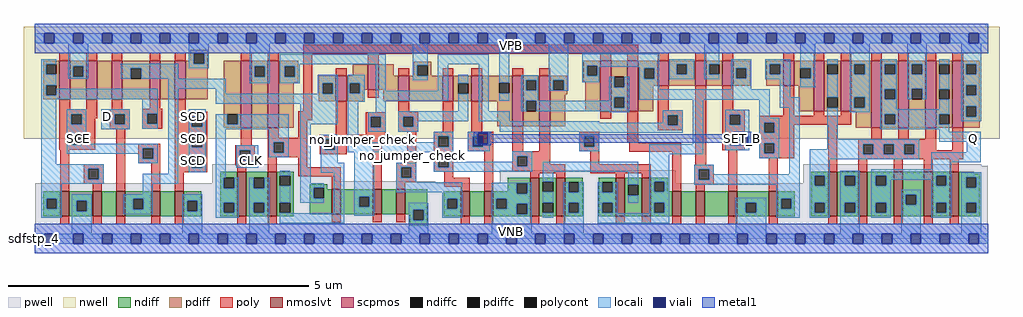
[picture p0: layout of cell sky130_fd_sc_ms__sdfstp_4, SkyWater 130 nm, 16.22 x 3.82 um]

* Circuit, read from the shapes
.subckt sky130_fd_sc_ms__sdfstp_4 CLK D SCD SCE SET_B VGND VNB VPB VPWR Q
XM1 VGND SCE n1 VNB sky130_fd_pr__nfet_01v8_lvt w=0.42 l=0.15
XM2 n2 n1 VGND VNB sky130_fd_pr__nfet_01v8_lvt w=0.42 l=0.15
XM3 n3 D n2 VNB sky130_fd_pr__nfet_01v8_lvt w=0.42 l=0.15
XM4 n4 SCE n3 VNB sky130_fd_pr__nfet_01v8_lvt w=0.42 l=0.15
XM5 VGND SCD n4 VNB sky130_fd_pr__nfet_01v8_lvt w=0.42 l=0.15
XM6 VGND CLK n5 VNB sky130_fd_pr__nfet_01v8_lvt w=0.74 l=0.15
XM7 n6 n5 VGND VNB sky130_fd_pr__nfet_01v8_lvt w=0.74 l=0.15
XM8 n7 n5 n3 VNB sky130_fd_pr__nfet_01v8_lvt w=0.42 l=0.15
XM9 n8 n6 n7 VNB sky130_fd_pr__nfet_01v8_lvt w=0.42 l=0.15
XM10 VGND n9 n8 VNB sky130_fd_pr__nfet_01v8_lvt w=0.42 l=0.15
XM11 n10 n7 n9 VNB sky130_fd_pr__nfet_01v8_lvt w=0.42 l=0.15
XM12 VGND SET_B n10 VNB sky130_fd_pr__nfet_01v8_lvt w=0.42 l=0.15
XM13 n11 n7 VGND VNB sky130_fd_pr__nfet_01v8_lvt w=0.64 l=0.15 m=2
XM14 n11 n6 n12 VNB sky130_fd_pr__nfet_01v8_lvt w=0.64 l=0.15 m=2
XM15 n13 n5 n12 VNB sky130_fd_pr__nfet_01v8_lvt w=0.42 l=0.15
XM16 n14 n15 n13 VNB sky130_fd_pr__nfet_01v8_lvt w=0.42 l=0.15
XM17 VGND SET_B n14 VNB sky130_fd_pr__nfet_01v8_lvt w=0.42 l=0.15
XM18 n15 n12 VGND VNB sky130_fd_pr__nfet_01v8_lvt w=0.42 l=0.15
XM19 VGND n12 n16 VNB sky130_fd_pr__nfet_01v8_lvt w=0.74 l=0.15
XM20 Q n16 VGND VNB sky130_fd_pr__nfet_01v8_lvt w=0.74 l=0.15 m=4
XM21 VPWR SCE n1 VPB sky130_fd_pr__pfet_01v8 w=0.64 l=0.18
XM22 n17 SCE VPWR VPB sky130_fd_pr__pfet_01v8 w=0.64 l=0.18
XM23 n3 D n17 VPB sky130_fd_pr__pfet_01v8 w=0.64 l=0.18
XM24 n18 n1 n3 VPB sky130_fd_pr__pfet_01v8 w=0.64 l=0.18
XM25 VPWR SCD n18 VPB sky130_fd_pr__pfet_01v8 w=0.64 l=0.18
XM26 VPWR CLK n5 VPB sky130_fd_pr__pfet_01v8 w=1.12 l=0.18
XM27 n6 n5 VPWR VPB sky130_fd_pr__pfet_01v8 w=1.12 l=0.18
XM28 n7 n6 n3 VPB sky130_fd_pr__pfet_01v8 w=0.42 l=0.18
XM29 n19 n5 n7 VPB sky130_fd_pr__pfet_01v8 w=0.42 l=0.18
XM30 VPWR n9 n19 VPB sky130_fd_pr__pfet_01v8 w=0.42 l=0.18
XM31 n9 n7 VPWR VPB sky130_fd_pr__pfet_01v8 w=0.42 l=0.18
XM32 VPWR SET_B n9 VPB sky130_fd_pr__pfet_01v8 w=0.42 l=0.18
XM33 n20 n7 VPWR VPB sky130_fd_pr__pfet_01v8 w=0.84 l=0.18 m=2
XM34 n20 n5 n12 VPB sky130_fd_pr__pfet_01v8 w=0.84 l=0.18 m=2
XM35 n21 n6 n12 VPB sky130_fd_pr__pfet_01v8 w=0.42 l=0.18
XM36 VPWR n15 n21 VPB sky130_fd_pr__pfet_01v8 w=0.42 l=0.18
XM37 n12 SET_B VPWR VPB sky130_fd_pr__pfet_01v8 w=0.42 l=0.18
XM38 VPWR n12 n15 VPB sky130_fd_pr__pfet_01v8 w=0.42 l=0.18
XM39 n16 n12 VPWR VPB sky130_fd_pr__pfet_01v8 w=0.84 l=0.18 m=2
XM40 Q n16 VPWR VPB sky130_fd_pr__pfet_01v8 w=1.12 l=0.18 m=4
.ends

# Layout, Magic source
magic
tech sky130A
magscale 1 2
<< nwell >>
rect -38 332 3206 704
<< pwell >>
rect 590 207 886 248
rect 2554 242 3146 248
rect 590 191 998 207
rect 590 184 1330 191
rect 1545 184 2130 228
rect 2554 184 3167 242
rect 1 49 3167 184
rect 0 0 3168 49
<< scpmos >>
rect 81 464 117 592
rect 171 464 207 592
rect 255 464 291 592
rect 381 464 417 592
rect 465 464 501 592
rect 684 368 720 592
rect 774 368 810 592
rect 1000 457 1036 541
rect 1107 495 1143 579
rect 1208 457 1244 541
rect 1355 457 1391 541
rect 1451 457 1487 541
rect 1587 373 1623 541
rect 1677 373 1713 541
rect 1879 424 1915 592
rect 1969 424 2005 592
rect 2070 508 2106 592
rect 2195 508 2231 592
rect 2285 508 2321 592
rect 2487 508 2523 592
rect 2588 424 2624 592
rect 2678 424 2714 592
rect 2779 368 2815 592
rect 2869 368 2905 592
rect 2959 368 2995 592
rect 3049 368 3085 592
<< nmoslvt >>
rect 84 74 114 158
rect 192 74 222 158
rect 270 74 300 158
rect 387 74 417 158
rect 465 74 495 158
rect 673 74 703 222
rect 773 74 803 222
rect 987 81 1017 165
rect 1123 81 1153 165
rect 1201 81 1231 165
rect 1415 74 1445 158
rect 1493 74 1523 158
rect 1647 74 1677 202
rect 1733 74 1763 202
rect 1931 74 1961 202
rect 2017 74 2047 202
rect 2119 74 2149 158
rect 2197 74 2227 158
rect 2305 74 2335 158
rect 2439 74 2469 158
rect 2637 74 2667 222
rect 2737 74 2767 222
rect 2854 74 2884 222
rect 2954 74 2984 222
rect 3040 74 3070 222
<< ndiff >>
rect 616 202 673 222
rect 616 168 628 202
rect 662 168 673 202
rect 27 133 84 158
rect 27 99 39 133
rect 73 99 84 133
rect 27 74 84 99
rect 114 126 192 158
rect 114 92 139 126
rect 173 92 192 126
rect 114 74 192 92
rect 222 74 270 158
rect 300 132 387 158
rect 300 98 326 132
rect 360 98 387 132
rect 300 74 387 98
rect 417 74 465 158
rect 495 126 552 158
rect 495 92 506 126
rect 540 92 552 126
rect 495 74 552 92
rect 616 120 673 168
rect 616 86 628 120
rect 662 86 673 120
rect 616 74 673 86
rect 703 202 773 222
rect 703 168 728 202
rect 762 168 773 202
rect 703 120 773 168
rect 703 86 728 120
rect 762 86 773 120
rect 703 74 773 86
rect 803 210 860 222
rect 803 176 814 210
rect 848 176 860 210
rect 803 120 860 176
rect 803 86 814 120
rect 848 86 860 120
rect 803 74 860 86
rect 914 169 972 181
rect 914 135 926 169
rect 960 165 972 169
rect 960 135 987 165
rect 914 81 987 135
rect 1017 140 1123 165
rect 1017 106 1078 140
rect 1112 106 1123 140
rect 1017 81 1123 106
rect 1153 81 1201 165
rect 1231 96 1304 165
rect 1571 184 1647 202
rect 1571 158 1602 184
rect 1231 81 1258 96
rect 1246 62 1258 81
rect 1292 62 1304 96
rect 1358 133 1415 158
rect 1358 99 1370 133
rect 1404 99 1415 133
rect 1358 74 1415 99
rect 1445 74 1493 158
rect 1523 150 1602 158
rect 1636 150 1647 184
rect 1523 133 1647 150
rect 1523 99 1534 133
rect 1568 116 1647 133
rect 1568 99 1602 116
rect 1523 82 1602 99
rect 1636 82 1647 116
rect 1523 74 1647 82
rect 1677 190 1733 202
rect 1677 156 1688 190
rect 1722 156 1733 190
rect 1677 120 1733 156
rect 1677 86 1688 120
rect 1722 86 1733 120
rect 1677 74 1733 86
rect 1763 188 1820 202
rect 1763 154 1774 188
rect 1808 154 1820 188
rect 1763 120 1820 154
rect 1763 86 1774 120
rect 1808 86 1820 120
rect 1763 74 1820 86
rect 1874 188 1931 202
rect 1874 154 1886 188
rect 1920 154 1931 188
rect 1874 120 1931 154
rect 1874 86 1886 120
rect 1920 86 1931 120
rect 1874 74 1931 86
rect 1961 179 2017 202
rect 1961 145 1972 179
rect 2006 145 2017 179
rect 1961 74 2017 145
rect 2047 190 2104 202
rect 2047 156 2058 190
rect 2092 158 2104 190
rect 2580 210 2637 222
rect 2580 176 2592 210
rect 2626 176 2637 210
rect 2092 156 2119 158
rect 2047 120 2119 156
rect 2047 86 2058 120
rect 2092 86 2119 120
rect 2047 74 2119 86
rect 2149 74 2197 158
rect 2227 74 2305 158
rect 2335 120 2439 158
rect 2335 86 2363 120
rect 2397 86 2439 120
rect 2335 74 2439 86
rect 2469 133 2526 158
rect 2469 99 2480 133
rect 2514 99 2526 133
rect 2469 74 2526 99
rect 2580 120 2637 176
rect 2580 86 2592 120
rect 2626 86 2637 120
rect 2580 74 2637 86
rect 2667 210 2737 222
rect 2667 176 2692 210
rect 2726 176 2737 210
rect 2667 120 2737 176
rect 2667 86 2692 120
rect 2726 86 2737 120
rect 2667 74 2737 86
rect 2767 210 2854 222
rect 2767 176 2795 210
rect 2829 176 2854 210
rect 2767 120 2854 176
rect 2767 86 2795 120
rect 2829 86 2854 120
rect 2767 74 2854 86
rect 2884 146 2954 222
rect 2884 112 2895 146
rect 2929 112 2954 146
rect 2884 74 2954 112
rect 2984 210 3040 222
rect 2984 176 2995 210
rect 3029 176 3040 210
rect 2984 120 3040 176
rect 2984 86 2995 120
rect 3029 86 3040 120
rect 2984 74 3040 86
rect 3070 216 3120 222
rect 3070 204 3141 216
rect 3070 170 3095 204
rect 3129 170 3141 204
rect 3070 120 3141 170
rect 3070 86 3095 120
rect 3129 86 3141 120
rect 3070 74 3141 86
rect 1246 43 1304 62
<< pdiff >>
rect 516 616 574 628
rect 516 592 528 616
rect 27 580 81 592
rect 27 546 37 580
rect 71 546 81 580
rect 27 510 81 546
rect 27 476 37 510
rect 71 476 81 510
rect 27 464 81 476
rect 117 573 171 592
rect 117 539 127 573
rect 161 539 171 573
rect 117 464 171 539
rect 207 464 255 592
rect 291 566 381 592
rect 291 532 319 566
rect 353 532 381 566
rect 291 464 381 532
rect 417 464 465 592
rect 501 582 528 592
rect 562 582 574 616
rect 501 464 574 582
rect 628 414 684 592
rect 628 380 640 414
rect 674 380 684 414
rect 628 368 684 380
rect 720 573 774 592
rect 720 539 730 573
rect 764 539 774 573
rect 720 368 774 539
rect 810 573 876 592
rect 810 539 830 573
rect 864 539 876 573
rect 810 520 876 539
rect 810 368 860 520
rect 1057 541 1107 579
rect 944 516 1000 541
rect 944 482 956 516
rect 990 482 1000 516
rect 944 457 1000 482
rect 1036 517 1107 541
rect 1036 483 1046 517
rect 1080 495 1107 517
rect 1143 541 1193 579
rect 1259 576 1317 588
rect 1259 542 1271 576
rect 1305 542 1317 576
rect 1823 575 1879 592
rect 1259 541 1317 542
rect 1823 541 1835 575
rect 1869 541 1879 575
rect 1143 495 1208 541
rect 1080 483 1092 495
rect 1036 457 1092 483
rect 1158 457 1208 495
rect 1244 457 1355 541
rect 1391 516 1451 541
rect 1391 482 1407 516
rect 1441 482 1451 516
rect 1391 457 1451 482
rect 1487 518 1587 541
rect 1487 484 1543 518
rect 1577 484 1587 518
rect 1487 457 1587 484
rect 1537 373 1587 457
rect 1623 527 1677 541
rect 1623 493 1633 527
rect 1667 493 1677 527
rect 1623 458 1677 493
rect 1623 424 1633 458
rect 1667 424 1677 458
rect 1623 373 1677 424
rect 1713 527 1769 541
rect 1713 493 1723 527
rect 1757 493 1769 527
rect 1823 524 1879 541
rect 1713 480 1769 493
rect 1713 373 1763 480
rect 1829 424 1879 524
rect 1915 538 1969 592
rect 1915 504 1925 538
rect 1959 504 1969 538
rect 1915 470 1969 504
rect 1915 436 1925 470
rect 1959 436 1969 470
rect 1915 424 1969 436
rect 2005 566 2070 592
rect 2005 532 2025 566
rect 2059 532 2070 566
rect 2005 508 2070 532
rect 2106 580 2195 592
rect 2106 546 2133 580
rect 2167 546 2195 580
rect 2106 508 2195 546
rect 2231 580 2285 592
rect 2231 546 2241 580
rect 2275 546 2285 580
rect 2231 508 2285 546
rect 2321 567 2377 592
rect 2321 533 2331 567
rect 2365 533 2377 567
rect 2321 508 2377 533
rect 2431 580 2487 592
rect 2431 546 2443 580
rect 2477 546 2487 580
rect 2431 508 2487 546
rect 2523 567 2588 592
rect 2523 533 2544 567
rect 2578 533 2588 567
rect 2523 508 2588 533
rect 2005 424 2055 508
rect 2538 424 2588 508
rect 2624 580 2678 592
rect 2624 546 2634 580
rect 2668 546 2678 580
rect 2624 470 2678 546
rect 2624 436 2634 470
rect 2668 436 2678 470
rect 2624 424 2678 436
rect 2714 580 2779 592
rect 2714 546 2724 580
rect 2758 546 2779 580
rect 2714 470 2779 546
rect 2714 436 2724 470
rect 2758 436 2779 470
rect 2714 424 2779 436
rect 2729 368 2779 424
rect 2815 580 2869 592
rect 2815 546 2825 580
rect 2859 546 2869 580
rect 2815 497 2869 546
rect 2815 463 2825 497
rect 2859 463 2869 497
rect 2815 414 2869 463
rect 2815 380 2825 414
rect 2859 380 2869 414
rect 2815 368 2869 380
rect 2905 580 2959 592
rect 2905 546 2915 580
rect 2949 546 2959 580
rect 2905 498 2959 546
rect 2905 464 2915 498
rect 2949 464 2959 498
rect 2905 368 2959 464
rect 2995 580 3049 592
rect 2995 546 3005 580
rect 3039 546 3049 580
rect 2995 497 3049 546
rect 2995 463 3005 497
rect 3039 463 3049 497
rect 2995 414 3049 463
rect 2995 380 3005 414
rect 3039 380 3049 414
rect 2995 368 3049 380
rect 3085 580 3141 592
rect 3085 546 3095 580
rect 3129 546 3141 580
rect 3085 510 3141 546
rect 3085 476 3095 510
rect 3129 476 3141 510
rect 3085 440 3141 476
rect 3085 406 3095 440
rect 3129 406 3141 440
rect 3085 368 3141 406
<< ndiffc >>
rect 628 168 662 202
rect 39 99 73 133
rect 139 92 173 126
rect 326 98 360 132
rect 506 92 540 126
rect 628 86 662 120
rect 728 168 762 202
rect 728 86 762 120
rect 814 176 848 210
rect 814 86 848 120
rect 926 135 960 169
rect 1078 106 1112 140
rect 1258 62 1292 96
rect 1370 99 1404 133
rect 1602 150 1636 184
rect 1534 99 1568 133
rect 1602 82 1636 116
rect 1688 156 1722 190
rect 1688 86 1722 120
rect 1774 154 1808 188
rect 1774 86 1808 120
rect 1886 154 1920 188
rect 1886 86 1920 120
rect 1972 145 2006 179
rect 2058 156 2092 190
rect 2592 176 2626 210
rect 2058 86 2092 120
rect 2363 86 2397 120
rect 2480 99 2514 133
rect 2592 86 2626 120
rect 2692 176 2726 210
rect 2692 86 2726 120
rect 2795 176 2829 210
rect 2795 86 2829 120
rect 2895 112 2929 146
rect 2995 176 3029 210
rect 2995 86 3029 120
rect 3095 170 3129 204
rect 3095 86 3129 120
<< pdiffc >>
rect 37 546 71 580
rect 37 476 71 510
rect 127 539 161 573
rect 319 532 353 566
rect 528 582 562 616
rect 640 380 674 414
rect 730 539 764 573
rect 830 539 864 573
rect 956 482 990 516
rect 1046 483 1080 517
rect 1271 542 1305 576
rect 1835 541 1869 575
rect 1407 482 1441 516
rect 1543 484 1577 518
rect 1633 493 1667 527
rect 1633 424 1667 458
rect 1723 493 1757 527
rect 1925 504 1959 538
rect 1925 436 1959 470
rect 2025 532 2059 566
rect 2133 546 2167 580
rect 2241 546 2275 580
rect 2331 533 2365 567
rect 2443 546 2477 580
rect 2544 533 2578 567
rect 2634 546 2668 580
rect 2634 436 2668 470
rect 2724 546 2758 580
rect 2724 436 2758 470
rect 2825 546 2859 580
rect 2825 463 2859 497
rect 2825 380 2859 414
rect 2915 546 2949 580
rect 2915 464 2949 498
rect 3005 546 3039 580
rect 3005 463 3039 497
rect 3005 380 3039 414
rect 3095 546 3129 580
rect 3095 476 3129 510
rect 3095 406 3129 440
<< poly >>
rect 81 592 117 618
rect 171 592 207 618
rect 255 592 291 618
rect 381 592 417 618
rect 465 592 501 618
rect 684 592 720 618
rect 774 592 810 618
rect 891 615 2005 645
rect 81 430 117 464
rect 171 430 207 464
rect 255 430 291 464
rect 381 432 417 464
rect 81 414 207 430
rect 81 380 121 414
rect 155 400 207 414
rect 249 414 315 430
rect 155 380 201 400
rect 81 346 201 380
rect 249 380 265 414
rect 299 380 315 414
rect 249 364 315 380
rect 357 416 423 432
rect 357 382 373 416
rect 407 382 423 416
rect 357 366 423 382
rect 465 422 501 464
rect 465 406 572 422
rect 465 372 522 406
rect 556 372 572 406
rect 81 312 121 346
rect 155 312 201 346
rect 81 296 201 312
rect 84 158 114 296
rect 162 232 228 248
rect 162 198 178 232
rect 212 198 228 232
rect 162 182 228 198
rect 192 158 222 182
rect 270 158 300 364
rect 465 338 572 372
rect 891 424 921 615
rect 1107 579 1143 615
rect 1879 592 1915 615
rect 1969 592 2005 615
rect 2070 592 2106 618
rect 2195 592 2231 618
rect 2285 592 2321 618
rect 2487 592 2523 618
rect 2588 592 2624 618
rect 2678 592 2714 618
rect 2779 592 2815 618
rect 2869 592 2905 618
rect 2959 592 2995 618
rect 3049 592 3085 618
rect 1000 541 1036 567
rect 1208 541 1244 567
rect 1355 541 1391 567
rect 1451 541 1487 567
rect 1587 541 1623 567
rect 1677 541 1713 567
rect 1107 469 1143 495
rect 875 394 921 424
rect 343 300 417 316
rect 343 266 359 300
rect 393 266 417 300
rect 343 250 417 266
rect 387 158 417 250
rect 465 304 522 338
rect 556 304 572 338
rect 684 310 720 368
rect 774 336 810 368
rect 875 336 905 394
rect 1000 346 1036 457
rect 1208 422 1244 457
rect 1100 405 1166 421
rect 1100 371 1116 405
rect 1150 371 1166 405
rect 1100 346 1166 371
rect 1208 406 1274 422
rect 1208 372 1224 406
rect 1258 372 1274 406
rect 1208 356 1274 372
rect 1355 356 1391 457
rect 1451 356 1487 457
rect 2070 427 2106 508
rect 1879 398 1915 424
rect 773 320 905 336
rect 465 270 572 304
rect 465 236 522 270
rect 556 236 572 270
rect 665 294 731 310
rect 665 260 681 294
rect 715 260 731 294
rect 665 244 731 260
rect 773 286 793 320
rect 827 286 905 320
rect 773 270 905 286
rect 947 330 1166 346
rect 947 296 963 330
rect 997 316 1166 330
rect 997 296 1036 316
rect 947 280 1036 296
rect 465 220 572 236
rect 673 222 703 244
rect 773 222 803 270
rect 875 238 905 270
rect 465 158 495 220
rect 875 208 1017 238
rect 987 165 1017 208
rect 1123 165 1153 316
rect 1237 253 1267 356
rect 1201 237 1267 253
rect 1201 203 1217 237
rect 1251 203 1267 237
rect 1325 340 1391 356
rect 1325 306 1341 340
rect 1375 306 1391 340
rect 1325 272 1391 306
rect 1439 340 1523 356
rect 1439 306 1455 340
rect 1489 306 1523 340
rect 1439 290 1523 306
rect 1325 238 1341 272
rect 1375 238 1391 272
rect 1325 222 1391 238
rect 1201 187 1267 203
rect 1361 203 1391 222
rect 1201 165 1231 187
rect 1361 173 1445 203
rect 1415 158 1445 173
rect 1493 158 1523 290
rect 1587 290 1623 373
rect 1677 290 1713 373
rect 1809 340 1875 356
rect 1809 306 1825 340
rect 1859 306 1875 340
rect 1969 319 2005 424
rect 2070 411 2153 427
rect 2070 377 2103 411
rect 2137 377 2153 411
rect 2070 361 2153 377
rect 1809 290 1875 306
rect 1587 274 1713 290
rect 1587 240 1603 274
rect 1637 247 1713 274
rect 1845 247 1875 290
rect 1975 289 2149 319
rect 1637 240 1763 247
rect 1587 224 1763 240
rect 1647 217 1763 224
rect 1845 217 2047 247
rect 1647 202 1677 217
rect 1733 202 1763 217
rect 1931 202 1961 217
rect 2017 202 2047 217
rect 84 48 114 74
rect 192 48 222 74
rect 270 48 300 74
rect 387 48 417 74
rect 465 48 495 74
rect 673 48 703 74
rect 773 48 803 74
rect 987 55 1017 81
rect 1123 55 1153 81
rect 1201 55 1231 81
rect 2119 158 2149 289
rect 2195 246 2231 508
rect 2285 428 2321 508
rect 2285 412 2360 428
rect 2285 378 2310 412
rect 2344 378 2360 412
rect 2487 408 2523 508
rect 2588 408 2624 424
rect 2678 408 2714 424
rect 2285 344 2360 378
rect 2285 310 2310 344
rect 2344 310 2360 344
rect 2285 294 2360 310
rect 2408 386 2714 408
rect 2408 352 2424 386
rect 2458 378 2714 386
rect 2458 352 2523 378
rect 2408 318 2523 352
rect 2191 230 2257 246
rect 2191 196 2207 230
rect 2241 196 2257 230
rect 2191 180 2257 196
rect 2197 158 2227 180
rect 2305 158 2335 294
rect 2408 284 2424 318
rect 2458 284 2523 318
rect 2408 268 2523 284
rect 2439 158 2469 268
rect 2637 222 2667 378
rect 2779 330 2815 368
rect 2869 330 2905 368
rect 2959 330 2995 368
rect 2737 314 2995 330
rect 2737 280 2753 314
rect 2787 280 2821 314
rect 2855 280 2889 314
rect 2923 294 2995 314
rect 3049 294 3085 368
rect 2923 280 3085 294
rect 2737 264 3085 280
rect 2737 222 2767 264
rect 2854 222 2884 264
rect 2954 222 2984 264
rect 3040 222 3070 264
rect 1415 48 1445 74
rect 1493 48 1523 74
rect 1647 48 1677 74
rect 1733 48 1763 74
rect 1931 48 1961 74
rect 2017 48 2047 74
rect 2119 48 2149 74
rect 2197 48 2227 74
rect 2305 48 2335 74
rect 2439 48 2469 74
rect 2637 48 2667 74
rect 2737 48 2767 74
rect 2854 48 2884 74
rect 2954 48 2984 74
rect 3040 48 3070 74
<< polycont >>
rect 121 380 155 414
rect 265 380 299 414
rect 373 382 407 416
rect 522 372 556 406
rect 121 312 155 346
rect 178 198 212 232
rect 359 266 393 300
rect 522 304 556 338
rect 1116 371 1150 405
rect 1224 372 1258 406
rect 522 236 556 270
rect 681 260 715 294
rect 793 286 827 320
rect 963 296 997 330
rect 1217 203 1251 237
rect 1341 306 1375 340
rect 1455 306 1489 340
rect 1341 238 1375 272
rect 1825 306 1859 340
rect 2103 377 2137 411
rect 1603 240 1637 274
rect 2310 378 2344 412
rect 2310 310 2344 344
rect 2424 352 2458 386
rect 2207 196 2241 230
rect 2424 284 2458 318
rect 2753 280 2787 314
rect 2821 280 2855 314
rect 2889 280 2923 314
<< locali >>
rect 0 649 31 683
rect 65 649 127 683
rect 161 649 223 683
rect 257 649 319 683
rect 353 649 415 683
rect 449 649 511 683
rect 545 649 607 683
rect 641 649 703 683
rect 737 649 799 683
rect 833 649 895 683
rect 929 649 991 683
rect 1025 649 1087 683
rect 1121 649 1183 683
rect 1217 649 1279 683
rect 1313 649 1375 683
rect 1409 649 1471 683
rect 1505 649 1567 683
rect 1601 649 1663 683
rect 1697 649 1759 683
rect 1793 649 1855 683
rect 1889 649 1951 683
rect 1985 649 2047 683
rect 2081 649 2143 683
rect 2177 649 2239 683
rect 2273 649 2335 683
rect 2369 649 2431 683
rect 2465 649 2527 683
rect 2561 649 2623 683
rect 2657 649 2719 683
rect 2753 649 2815 683
rect 2849 649 2911 683
rect 2945 649 3007 683
rect 3041 649 3103 683
rect 3137 649 3168 683
rect 21 580 71 596
rect 21 546 37 580
rect 21 510 71 546
rect 111 573 177 649
rect 512 616 578 649
rect 512 582 528 616
rect 562 582 578 616
rect 111 539 127 573
rect 161 539 177 573
rect 111 532 177 539
rect 285 566 477 582
rect 512 566 578 582
rect 714 573 780 649
rect 285 532 319 566
rect 353 532 477 566
rect 714 539 730 573
rect 764 539 780 573
rect 21 476 37 510
rect 443 498 635 532
rect 714 516 780 539
rect 814 579 1166 613
rect 814 573 880 579
rect 814 539 830 573
rect 864 539 880 573
rect 814 516 880 539
rect 940 516 1006 545
rect 71 476 409 498
rect 21 464 409 476
rect 21 248 71 464
rect 105 414 171 430
rect 105 380 121 414
rect 155 380 171 414
rect 105 346 171 380
rect 221 414 315 430
rect 221 380 265 414
rect 299 380 315 414
rect 221 364 315 380
rect 357 416 409 464
rect 357 382 373 416
rect 407 382 409 416
rect 357 366 409 382
rect 105 312 121 346
rect 155 316 171 346
rect 155 312 409 316
rect 105 300 409 312
rect 105 282 359 300
rect 343 266 359 282
rect 393 266 409 300
rect 343 250 409 266
rect 21 232 228 248
rect 21 198 178 232
rect 212 198 228 232
rect 443 216 477 498
rect 601 482 635 498
rect 940 482 956 516
rect 990 482 1006 516
rect 601 448 1006 482
rect 511 406 567 430
rect 511 372 522 406
rect 556 372 567 406
rect 511 338 567 372
rect 511 304 522 338
rect 556 304 567 338
rect 511 270 567 304
rect 511 236 522 270
rect 556 236 567 270
rect 511 220 567 236
rect 601 380 640 414
rect 674 380 843 414
rect 601 364 843 380
rect 21 182 228 198
rect 358 182 477 216
rect 601 202 635 364
rect 777 320 843 364
rect 669 294 743 310
rect 669 260 681 294
rect 715 260 743 294
rect 777 286 793 320
rect 827 286 843 320
rect 777 270 843 286
rect 882 380 1006 448
rect 1040 517 1096 545
rect 1040 483 1046 517
rect 1080 483 1096 517
rect 1040 455 1096 483
rect 1132 492 1166 579
rect 1255 576 1305 649
rect 1255 542 1271 576
rect 1255 526 1305 542
rect 1339 579 1509 613
rect 1339 492 1373 579
rect 1132 458 1373 492
rect 1407 516 1441 545
rect 669 236 743 260
rect 814 210 848 226
rect 21 133 89 182
rect 358 148 392 182
rect 601 168 628 202
rect 662 168 678 202
rect 21 99 39 133
rect 73 99 89 133
rect 21 70 89 99
rect 123 126 189 148
rect 123 92 139 126
rect 173 92 189 126
rect 123 17 189 92
rect 295 132 392 148
rect 295 98 326 132
rect 360 98 392 132
rect 295 82 392 98
rect 490 126 556 148
rect 490 92 506 126
rect 540 92 556 126
rect 490 17 556 92
rect 601 120 678 168
rect 601 86 628 120
rect 662 86 678 120
rect 601 70 678 86
rect 712 168 728 202
rect 762 168 778 202
rect 712 120 778 168
rect 712 86 728 120
rect 762 86 778 120
rect 712 17 778 86
rect 814 120 848 176
rect 882 185 916 380
rect 950 330 1006 346
rect 950 296 963 330
rect 997 296 1006 330
rect 950 253 1006 296
rect 1040 321 1074 455
rect 1132 421 1166 458
rect 1407 424 1441 482
rect 1108 405 1166 421
rect 1108 371 1116 405
rect 1150 371 1166 405
rect 1108 355 1166 371
rect 1208 406 1441 424
rect 1208 372 1224 406
rect 1258 390 1441 406
rect 1475 424 1509 579
rect 1543 518 1577 649
rect 1543 458 1577 484
rect 1617 527 1673 543
rect 1617 493 1633 527
rect 1667 493 1673 527
rect 1617 458 1673 493
rect 1707 527 1773 649
rect 1707 493 1723 527
rect 1757 493 1773 527
rect 1819 575 2075 615
rect 1819 541 1835 575
rect 1869 572 2075 575
rect 1869 541 1875 572
rect 1819 520 1875 541
rect 2009 566 2075 572
rect 1707 492 1773 493
rect 1909 504 1925 538
rect 1959 504 1975 538
rect 1909 470 1975 504
rect 1909 458 1925 470
rect 1617 424 1633 458
rect 1667 436 1925 458
rect 1959 436 1975 470
rect 2009 532 2025 566
rect 2059 532 2075 566
rect 2009 496 2075 532
rect 2109 580 2191 596
rect 2109 546 2133 580
rect 2167 546 2191 580
rect 2109 530 2191 546
rect 2225 580 2275 649
rect 2225 546 2241 580
rect 2225 530 2275 546
rect 2315 567 2381 596
rect 2315 533 2331 567
rect 2365 533 2381 567
rect 2315 496 2381 533
rect 2427 580 2510 596
rect 2427 546 2443 580
rect 2477 546 2510 580
rect 2427 530 2510 546
rect 2009 462 2442 496
rect 1667 424 1975 436
rect 1475 390 1579 424
rect 1909 420 1975 424
rect 2087 411 2153 427
rect 1258 372 1274 390
rect 1208 356 1274 372
rect 1545 386 1875 390
rect 2087 386 2103 411
rect 1545 377 2103 386
rect 2137 377 2153 411
rect 1545 356 2153 377
rect 1325 340 1391 356
rect 1325 321 1341 340
rect 1040 306 1341 321
rect 1375 306 1391 340
rect 1040 287 1391 306
rect 1439 350 1511 356
rect 1439 340 1471 350
rect 1439 306 1455 340
rect 1505 316 1511 350
rect 1489 306 1511 316
rect 1439 290 1511 306
rect 1809 352 2153 356
rect 1809 340 1875 352
rect 1809 306 1825 340
rect 1859 306 1875 340
rect 2187 314 2221 462
rect 1809 290 1875 306
rect 950 219 1028 253
rect 882 169 960 185
rect 882 135 926 169
rect 882 119 960 135
rect 814 85 848 86
rect 994 85 1028 219
rect 814 51 1028 85
rect 1062 140 1128 287
rect 1325 272 1391 287
rect 1201 237 1267 253
rect 1201 203 1217 237
rect 1251 203 1267 237
rect 1325 238 1341 272
rect 1375 256 1391 272
rect 1587 274 1653 290
rect 1587 256 1603 274
rect 1375 240 1603 256
rect 1637 240 1653 274
rect 2042 280 2221 314
rect 2294 412 2374 428
rect 2294 378 2310 412
rect 2344 378 2374 412
rect 2294 350 2374 378
rect 2294 344 2335 350
rect 2294 310 2310 344
rect 2369 316 2374 350
rect 2344 310 2374 316
rect 2294 294 2374 310
rect 2408 402 2442 462
rect 2476 470 2510 530
rect 2544 567 2594 649
rect 2578 533 2594 567
rect 2544 504 2594 533
rect 2634 580 2668 596
rect 2634 470 2668 546
rect 2476 436 2542 470
rect 2408 386 2474 402
rect 2408 352 2424 386
rect 2458 352 2474 386
rect 2408 318 2474 352
rect 2408 284 2424 318
rect 2458 284 2474 318
rect 1375 238 1653 240
rect 1325 222 1653 238
rect 1688 222 2006 256
rect 1201 188 1267 203
rect 1688 190 1722 222
rect 1201 154 1420 188
rect 1062 106 1078 140
rect 1112 106 1128 140
rect 1354 133 1420 154
rect 1062 77 1128 106
rect 1242 96 1308 120
rect 1242 62 1258 96
rect 1292 62 1308 96
rect 1354 99 1370 133
rect 1404 99 1420 133
rect 1354 70 1420 99
rect 1518 184 1652 186
rect 1518 150 1602 184
rect 1636 150 1652 184
rect 1518 133 1652 150
rect 1518 99 1534 133
rect 1568 116 1652 133
rect 1568 99 1602 116
rect 1518 82 1602 99
rect 1636 82 1652 116
rect 1242 17 1308 62
rect 1518 17 1652 82
rect 1688 120 1722 156
rect 1688 70 1722 86
rect 1758 154 1774 188
rect 1808 154 1824 188
rect 1758 120 1824 154
rect 1758 86 1774 120
rect 1808 86 1824 120
rect 1758 17 1824 86
rect 1870 154 1886 188
rect 1920 154 1936 188
rect 1870 120 1936 154
rect 1870 86 1886 120
rect 1920 86 1936 120
rect 1972 179 2006 222
rect 1972 119 2006 145
rect 2042 190 2108 280
rect 2408 268 2474 284
rect 2042 156 2058 190
rect 2092 156 2108 190
rect 2191 230 2257 246
rect 2191 196 2207 230
rect 2241 214 2257 230
rect 2508 214 2542 436
rect 2634 330 2668 436
rect 2708 580 2774 649
rect 2708 546 2724 580
rect 2758 546 2774 580
rect 2708 470 2774 546
rect 2708 436 2724 470
rect 2758 436 2774 470
rect 2708 420 2774 436
rect 2809 580 2865 596
rect 2809 546 2825 580
rect 2859 546 2865 580
rect 2809 497 2865 546
rect 2809 463 2825 497
rect 2859 463 2865 497
rect 2899 580 2965 649
rect 2899 546 2915 580
rect 2949 546 2965 580
rect 2899 498 2965 546
rect 2899 464 2915 498
rect 2949 464 2965 498
rect 3005 580 3039 596
rect 3005 497 3039 546
rect 2809 430 2865 463
rect 3005 430 3039 463
rect 2809 414 3039 430
rect 2809 380 2825 414
rect 2859 380 3005 414
rect 3079 580 3145 649
rect 3079 546 3095 580
rect 3129 546 3145 580
rect 3079 510 3145 546
rect 3079 476 3095 510
rect 3129 476 3145 510
rect 3079 440 3145 476
rect 3079 406 3095 440
rect 3129 406 3145 440
rect 3079 390 3145 406
rect 2809 364 3039 380
rect 3005 356 3039 364
rect 2634 314 2939 330
rect 3005 322 3143 356
rect 2634 298 2753 314
rect 2241 196 2542 214
rect 2191 180 2542 196
rect 2042 120 2108 156
rect 1870 85 1936 86
rect 2042 86 2058 120
rect 2092 86 2108 120
rect 2042 85 2108 86
rect 1870 51 2108 85
rect 2330 120 2430 136
rect 2330 86 2363 120
rect 2397 86 2430 120
rect 2330 17 2430 86
rect 2464 133 2542 180
rect 2464 99 2480 133
rect 2514 99 2542 133
rect 2464 70 2542 99
rect 2576 280 2753 298
rect 2787 280 2821 314
rect 2855 280 2889 314
rect 2923 280 2939 314
rect 3097 288 3143 322
rect 2576 264 2939 280
rect 2576 210 2642 264
rect 2979 254 3143 288
rect 2979 230 3045 254
rect 2576 176 2592 210
rect 2626 176 2642 210
rect 2576 120 2642 176
rect 2576 86 2592 120
rect 2626 86 2642 120
rect 2576 70 2642 86
rect 2676 210 2742 226
rect 2676 176 2692 210
rect 2726 176 2742 210
rect 2676 120 2742 176
rect 2676 86 2692 120
rect 2726 86 2742 120
rect 2676 17 2742 86
rect 2779 210 3045 230
rect 2779 176 2795 210
rect 2829 196 2995 210
rect 2829 176 2845 196
rect 2779 120 2845 176
rect 2979 176 2995 196
rect 3029 176 3045 210
rect 2779 86 2795 120
rect 2829 86 2845 120
rect 2779 70 2845 86
rect 2879 146 2945 162
rect 2879 112 2895 146
rect 2929 112 2945 146
rect 2879 17 2945 112
rect 2979 120 3045 176
rect 2979 86 2995 120
rect 3029 86 3045 120
rect 2979 70 3045 86
rect 3079 204 3145 220
rect 3079 170 3095 204
rect 3129 170 3145 204
rect 3079 120 3145 170
rect 3079 86 3095 120
rect 3129 86 3145 120
rect 3079 17 3145 86
rect 0 -17 31 17
rect 65 -17 127 17
rect 161 -17 223 17
rect 257 -17 319 17
rect 353 -17 415 17
rect 449 -17 511 17
rect 545 -17 607 17
rect 641 -17 703 17
rect 737 -17 799 17
rect 833 -17 895 17
rect 929 -17 991 17
rect 1025 -17 1087 17
rect 1121 -17 1183 17
rect 1217 -17 1279 17
rect 1313 -17 1375 17
rect 1409 -17 1471 17
rect 1505 -17 1567 17
rect 1601 -17 1663 17
rect 1697 -17 1759 17
rect 1793 -17 1855 17
rect 1889 -17 1951 17
rect 1985 -17 2047 17
rect 2081 -17 2143 17
rect 2177 -17 2239 17
rect 2273 -17 2335 17
rect 2369 -17 2431 17
rect 2465 -17 2527 17
rect 2561 -17 2623 17
rect 2657 -17 2719 17
rect 2753 -17 2815 17
rect 2849 -17 2911 17
rect 2945 -17 3007 17
rect 3041 -17 3103 17
rect 3137 -17 3168 17
<< viali >>
rect 31 649 65 683
rect 127 649 161 683
rect 223 649 257 683
rect 319 649 353 683
rect 415 649 449 683
rect 511 649 545 683
rect 607 649 641 683
rect 703 649 737 683
rect 799 649 833 683
rect 895 649 929 683
rect 991 649 1025 683
rect 1087 649 1121 683
rect 1183 649 1217 683
rect 1279 649 1313 683
rect 1375 649 1409 683
rect 1471 649 1505 683
rect 1567 649 1601 683
rect 1663 649 1697 683
rect 1759 649 1793 683
rect 1855 649 1889 683
rect 1951 649 1985 683
rect 2047 649 2081 683
rect 2143 649 2177 683
rect 2239 649 2273 683
rect 2335 649 2369 683
rect 2431 649 2465 683
rect 2527 649 2561 683
rect 2623 649 2657 683
rect 2719 649 2753 683
rect 2815 649 2849 683
rect 2911 649 2945 683
rect 3007 649 3041 683
rect 3103 649 3137 683
rect 1471 340 1505 350
rect 1471 316 1489 340
rect 1489 316 1505 340
rect 2335 344 2369 350
rect 2335 316 2344 344
rect 2344 316 2369 344
rect 31 -17 65 17
rect 127 -17 161 17
rect 223 -17 257 17
rect 319 -17 353 17
rect 415 -17 449 17
rect 511 -17 545 17
rect 607 -17 641 17
rect 703 -17 737 17
rect 799 -17 833 17
rect 895 -17 929 17
rect 991 -17 1025 17
rect 1087 -17 1121 17
rect 1183 -17 1217 17
rect 1279 -17 1313 17
rect 1375 -17 1409 17
rect 1471 -17 1505 17
rect 1567 -17 1601 17
rect 1663 -17 1697 17
rect 1759 -17 1793 17
rect 1855 -17 1889 17
rect 1951 -17 1985 17
rect 2047 -17 2081 17
rect 2143 -17 2177 17
rect 2239 -17 2273 17
rect 2335 -17 2369 17
rect 2431 -17 2465 17
rect 2527 -17 2561 17
rect 2623 -17 2657 17
rect 2719 -17 2753 17
rect 2815 -17 2849 17
rect 2911 -17 2945 17
rect 3007 -17 3041 17
rect 3103 -17 3137 17
<< metal1 >>
rect 0 683 3168 715
rect 0 649 31 683
rect 65 649 127 683
rect 161 649 223 683
rect 257 649 319 683
rect 353 649 415 683
rect 449 649 511 683
rect 545 649 607 683
rect 641 649 703 683
rect 737 649 799 683
rect 833 649 895 683
rect 929 649 991 683
rect 1025 649 1087 683
rect 1121 649 1183 683
rect 1217 649 1279 683
rect 1313 649 1375 683
rect 1409 649 1471 683
rect 1505 649 1567 683
rect 1601 649 1663 683
rect 1697 649 1759 683
rect 1793 649 1855 683
rect 1889 649 1951 683
rect 1985 649 2047 683
rect 2081 649 2143 683
rect 2177 649 2239 683
rect 2273 649 2335 683
rect 2369 649 2431 683
rect 2465 649 2527 683
rect 2561 649 2623 683
rect 2657 649 2719 683
rect 2753 649 2815 683
rect 2849 649 2911 683
rect 2945 649 3007 683
rect 3041 649 3103 683
rect 3137 649 3168 683
rect 0 617 3168 649
rect 1459 350 1517 356
rect 1459 316 1471 350
rect 1505 347 1517 350
rect 2323 350 2381 356
rect 2323 347 2335 350
rect 1505 319 2335 347
rect 1505 316 1517 319
rect 1459 310 1517 316
rect 2323 316 2335 319
rect 2369 316 2381 350
rect 2323 310 2381 316
rect 0 17 3168 49
rect 0 -17 31 17
rect 65 -17 127 17
rect 161 -17 223 17
rect 257 -17 319 17
rect 353 -17 415 17
rect 449 -17 511 17
rect 545 -17 607 17
rect 641 -17 703 17
rect 737 -17 799 17
rect 833 -17 895 17
rect 929 -17 991 17
rect 1025 -17 1087 17
rect 1121 -17 1183 17
rect 1217 -17 1279 17
rect 1313 -17 1375 17
rect 1409 -17 1471 17
rect 1505 -17 1567 17
rect 1601 -17 1663 17
rect 1697 -17 1759 17
rect 1793 -17 1855 17
rect 1889 -17 1951 17
rect 1985 -17 2047 17
rect 2081 -17 2143 17
rect 2177 -17 2239 17
rect 2273 -17 2335 17
rect 2369 -17 2431 17
rect 2465 -17 2527 17
rect 2561 -17 2623 17
rect 2657 -17 2719 17
rect 2753 -17 2815 17
rect 2849 -17 2911 17
rect 2945 -17 3007 17
rect 3041 -17 3103 17
rect 3137 -17 3168 17
rect 0 -49 3168 -17
<< labels >>
flabel pwell s 0 0 3168 49 0 FreeSans 200 0 0 0 VNB
port 7 nsew ground bidirectional
flabel nwell s 0 617 3168 666 0 FreeSans 200 0 0 0 VPB
port 8 nsew power bidirectional
rlabel comment s 0 0 0 0 4 sdfstp_4
flabel comment s 1256 277 1256 277 0 FreeSans 200 0 0 0 no_jumper_check
flabel comment s 1090 329 1090 329 0 FreeSans 200 0 0 0 no_jumper_check
flabel metal1 s 2335 316 2369 350 0 FreeSans 340 0 0 0 SET_B
port 5 nsew signal input
flabel metal1 s 0 617 3168 666 0 FreeSans 340 0 0 0 VPWR
port 9 nsew power bidirectional
flabel metal1 s 0 0 3168 49 0 FreeSans 340 0 0 0 VGND
port 6 nsew ground bidirectional
flabel locali s 703 242 737 276 0 FreeSans 340 0 0 0 CLK
port 1 nsew clock input
flabel locali s 127 316 161 350 0 FreeSans 340 0 0 0 SCE
port 4 nsew signal input
flabel locali s 223 390 257 424 0 FreeSans 340 0 0 0 D
port 2 nsew signal input
flabel locali s 511 242 545 276 0 FreeSans 340 0 0 0 SCD
port 3 nsew signal input
flabel locali s 511 316 545 350 0 FreeSans 340 0 0 0 SCD
port 3 nsew signal input
flabel locali s 511 390 545 424 0 FreeSans 340 0 0 0 SCD
port 3 nsew signal input
flabel locali s 3103 316 3137 350 0 FreeSans 340 0 0 0 Q
port 10 nsew signal output
<< properties >>
string LEFsite unit
string LEFclass CORE
string FIXED_BBOX 0 0 3168 666
string GDS_FILE $PDKPATH/libs.ref/sky130_fd_sc_ms/gds/sky130_fd_sc_ms.gds
string LEFsymmetry X Y
string GDS_END 161250
string GDS_START 139150
<< end >>
